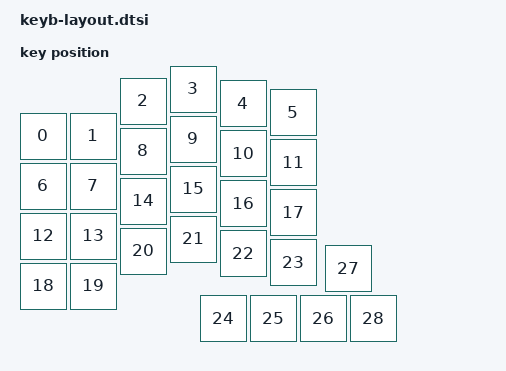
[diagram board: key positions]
/*
 * Physical layout of the Key-B keyboard, used by ZMK Studio and keymap-drawer.
 *
 * Key positions come from the switch footprints in left-hand-keyboard/pcb/keyboard.kicad_pcb,
 * in units of 1/100 key, with 1 key = 18 mm horizontally and 17 mm vertically (choc spacing).
 * Keys are listed in the same order as the kscan input-gpios in keyb_nrf52840_zmk.dts.
 *
 * SPDX-License-Identifier: MIT
 */

#include <physical_layouts.dtsi>

/ {
    keyb_layout: keyb_layout {
        compatible = "zmk,physical-layout";
        display-name = "Key-B";

        keys  //                     w   h    x    y     rot    rx    ry
            = <&key_physical_attrs 100 100    0   94       0     0     0>  //  S1 P1.09
            , <&key_physical_attrs 100 100  100   94       0     0     0>  //  S5 P0.25
            , <&key_physical_attrs 100 100  200   24       0     0     0>  //  S9 P0.29
            , <&key_physical_attrs 100 100  300    0       0     0     0>  // S13 P1.13
            , <&key_physical_attrs 100 100  400   29       0     0     0>  // S17 P1.12
            , <&key_physical_attrs 100 100  500   47       0     0     0>  // S21 P0.23
            , <&key_physical_attrs 100 100    0  194       0     0     0>  //  S2 P0.21
            , <&key_physical_attrs 100 100  100  194       0     0     0>  //  S6 P0.24
            , <&key_physical_attrs 100 100  200  124       0     0     0>  // S10 P0.04
            , <&key_physical_attrs 100 100  300  100       0     0     0>  // S14 P1.14
            , <&key_physical_attrs 100 100  400  129       0     0     0>  // S18 P0.05
            , <&key_physical_attrs 100 100  500  147       0     0     0>  // S22 P1.15
            , <&key_physical_attrs 100 100    0  294       0     0     0>  //  S3 P0.20
            , <&key_physical_attrs 100 100  100  294       0     0     0>  //  S7 P0.28
            , <&key_physical_attrs 100 100  200  224       0     0     0>  // S11 P1.02
            , <&key_physical_attrs 100 100  300  200       0     0     0>  // S15 P1.01
            , <&key_physical_attrs 100 100  400  229       0     0     0>  // S19 P1.10
            , <&key_physical_attrs 100 100  500  247       0     0     0>  // S23 P0.07
            , <&key_physical_attrs 100 100    0  394       0     0     0>  //  S4 P1.07
            , <&key_physical_attrs 100 100  100  394       0     0     0>  //  S8 P1.11
            , <&key_physical_attrs 100 100  200  324       0     0     0>  // S12 P0.08
            , <&key_physical_attrs 100 100  300  300       0     0     0>  // S16 P1.03
            , <&key_physical_attrs 100 100  400  329       0     0     0>  // S20 P1.05
            , <&key_physical_attrs 100 100  500  347       0     0     0>  // S24 P1.06
            , <&key_physical_attrs 100 100  361  459       0     0     0>  // S25 P1.04
            , <&key_physical_attrs 100 100  461  459       0     0     0>  // S26 P1.08
            , <&key_physical_attrs 100 100  561  459       0     0     0>  // S27 P0.26
            , <&key_physical_attrs 100 100  611  359       0     0     0>  // S28 P0.27
            , <&key_physical_attrs 100 100  661  459       0     0     0>  // S29 P0.03
            ;
    };
};
